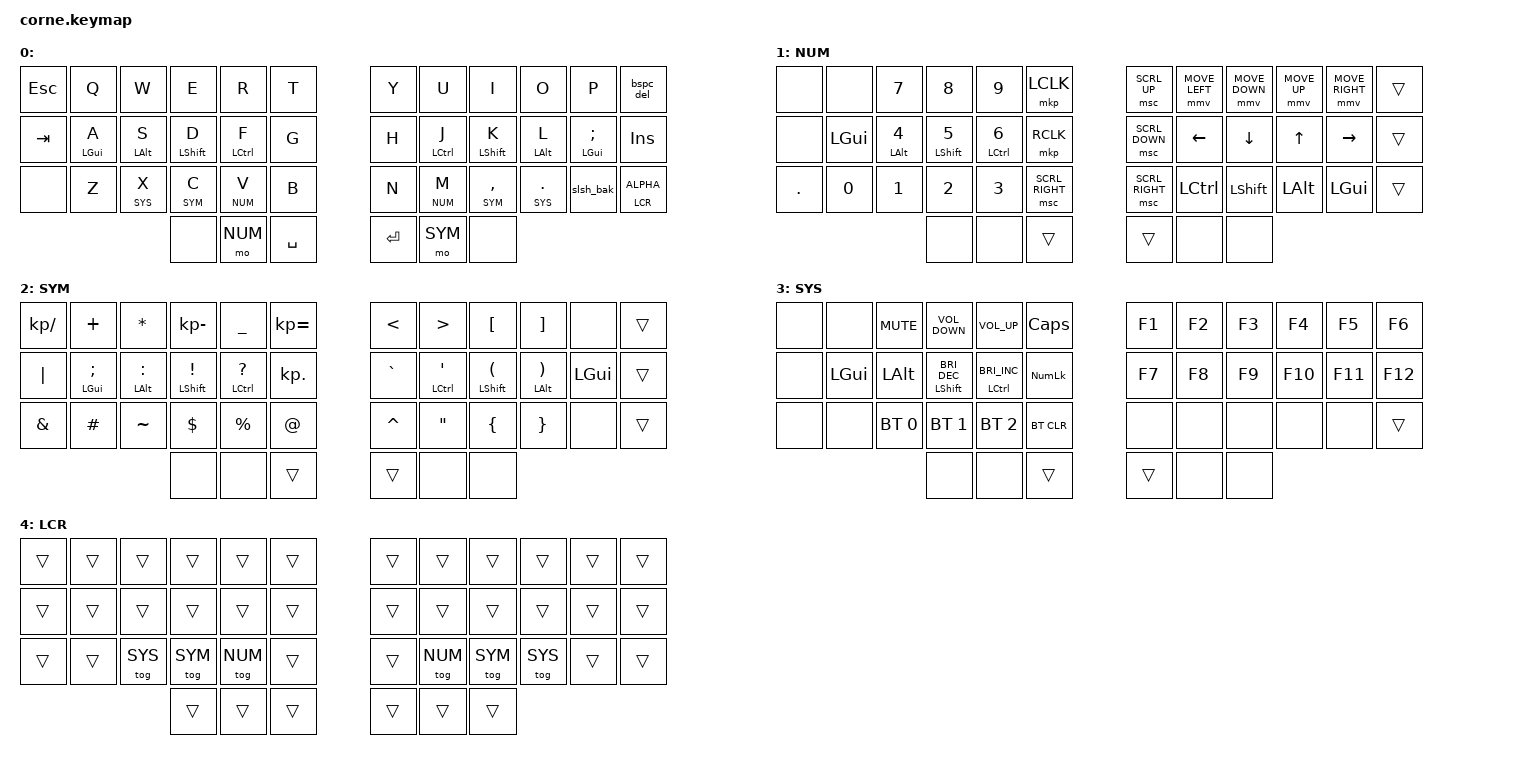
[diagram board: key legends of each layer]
/*
 * Copyright (c) 2020 The ZMK Contributors
 *
 * SPDX-License-Identifier: MIT
 */

#include <behaviors.dtsi>
#include <dt-bindings/zmk/bt.h>
#include <dt-bindings/zmk/keys.h>
#include <dt-bindings/zmk/pointing.h>

#define ALPHA 0
#define NUM  1
#define SYM  2
#define SYS  3
#define LCR  4
#define ZMK_POINTING_DEFAULT_MOVE_VAL 450

&mmv { time-to-max-speed-ms = <150>; };

&msc { time-to-max-speed-ms = <0>; };

/ {
    behaviors {
        /*
        * layers
        */

        hm: home_row_mod {
            compatible = "zmk,behavior-hold-tap";
            #binding-cells = <2>;
            flavor = "balanced";
            tapping-term-ms = <200>;
            quick-tap-ms = <150>;
            bindings = <&kp>, <&kp>;
        };

        bspc_del: backspace_delete {
            compatible = "zmk,behavior-mod-morph";
            #binding-cells = <0>;
            bindings = <&kp BACKSPACE>, <&kp DELETE>;

            mods = <(MOD_LSFT)>;
        };

        slsh_bak: slash_backslash {
            compatible = "zmk,behavior-mod-morph";
            #binding-cells = <0>;
            bindings = <&kp SLASH>, <&kp BACKSLASH>;

            mods = <(MOD_LSFT)>;
        };

        lcr: layer_control_room {
            compatible = "zmk,behavior-hold-tap";
            #binding-cells = <2>;
            flavor = "balanced";
            tapping-term-ms = <200>;
            quick-tap-ms = <150>;
            bindings = <&mo>, <&to>;
        };
    };

    combos {
        compatible = "zmk,combos";

        caps_word {
            bindings = <&caps_word>;
            key-positions = <15 20>;
        };

        toggle_num {
            bindings = <&tog NUM>;
            key-positions = <28 31>;
            layers = <0 1>;
        };

        toggle_sym {
            bindings = <&tog SYM>;
            key-positions = <27 32>;
            layers = <0 2>;
        };

        toggle_system {
            bindings = <&tog SYS>;
            key-positions = <26 33>;
            layers = <0 3>;
        };
    };

    keymap {
        compatible = "zmk,keymap";

        layer_alpha {
            display-name = " ";
            bindings = <
&kp ESCAPE  &kp Q       &kp W       &kp E        &kp R        &kp T        &kp Y      &kp U        &kp I          &kp O        &kp P          &bspc_del
&kp TAB     &hm LGUI A  &hm LALT S  &hm LSHFT D  &hm LCTRL F  &kp G        &kp H      &hm LCTRL J  &hm LSHFT K    &hm LALT L   &hm LGUI SEMI  &kp INSERT
&none       &kp Z       &lt SYS X   &lt SYM C    &lt NUM V    &kp B        &kp N      &lt NUM M    &lt SYM COMMA  &lt SYS DOT  &slsh_bak      &lcr LCR ALPHA
                                    &none        &mo NUM      &kp SPACE    &kp ENTER  &mo SYM      &none
            >;
        };

        layer_num {
            display-name = "NUM";
            bindings = <
&none       &none         &kp N7       &kp N8        &kp N9        &mkp LCLK          &msc SCRL_UP     &mmv MOVE_LEFT  &mmv MOVE_DOWN  &mmv MOVE_UP  &mmv MOVE_RIGHT  &trans
&none       &kp LGUI      &hm LALT N4  &hm LSHFT N5  &hm LCTRL N6  &mkp RCLK          &msc SCRL_DOWN   &kp LEFT        &kp DOWN        &kp UP        &kp RIGHT        &trans
&kp PERIOD  &kp NUMBER_0  &kp N1       &kp N2        &kp N3        &msc SCRL_RIGHT    &msc SCRL_RIGHT  &kp LCTRL       &kp LSHFT       &kp LALT      &kp LGUI         &trans
                                       &none         &none         &trans             &trans           &none           &none
            >;
        };

        layer_sym {
            display-name = "SYM";
            bindings = <
&kp KP_SLASH   &kp PLUS            &kp STAR        &kp KP_MINUS    &kp UNDERSCORE      &kp KP_EQUAL    &kp LESS_THAN  &kp GREATER_THAN        &kp LEFT_BRACKET            &kp RIGHT_BRACKET           &none     &trans
&kp PIPE       &hm LGUI SEMICOLON  &hm LALT COLON  &hm LSHFT EXCL  &hm LCTRL QUESTION  &kp KP_DOT      &kp GRAVE      &hm LCTRL SINGLE_QUOTE  &hm LSHFT LEFT_PARENTHESIS  &hm LALT RIGHT_PARENTHESIS  &kp LGUI  &trans
&kp AMPERSAND  &kp POUND           &kp TILDE       &kp DOLLAR      &kp PERCENT         &kp AT          &kp CARET      &kp DOUBLE_QUOTES       &kp LEFT_BRACE              &kp RIGHT_BRACE             &none     &trans
                                                   &none           &none               &trans          &trans         &none                   &none
            >;
        };

        layer_sys {
            display-name = "SYS";
            bindings = <
&none  &none     &kp K_MUTE    &kp C_VOLUME_DOWN           &kp C_VOLUME_UP             &kp CAPSLOCK      &kp F1  &kp F2  &kp F3  &kp F4   &kp F5   &kp F6
&none  &kp LGUI  &kp LALT      &hm LSHFT C_BRIGHTNESS_DEC  &hm LCTRL C_BRIGHTNESS_INC  &kp KP_NUMLOCK    &kp F7  &kp F8  &kp F9  &kp F10  &kp F11  &kp F12
&none  &none     &bt BT_SEL 0  &bt BT_SEL 1                &bt BT_SEL 2                &bt BT_CLR        &none   &none   &none   &none    &none    &trans
                               &none                       &none                       &trans            &trans  &none   &none
            >;
        };

        layer_lcr {
            display-name = "LCR";
            bindings = <
&trans  &trans  &trans    &trans    &trans    &trans    &trans  &trans    &trans    &trans    &trans  &trans
&trans  &trans  &trans    &trans    &trans    &trans    &trans  &trans    &trans    &trans    &trans  &trans
&trans  &trans  &tog SYS  &tog SYM  &tog NUM  &trans    &trans  &tog NUM  &tog SYM  &tog SYS  &trans  &trans
                          &trans    &trans    &trans    &trans  &trans    &trans
            >;
        };
    };
};
